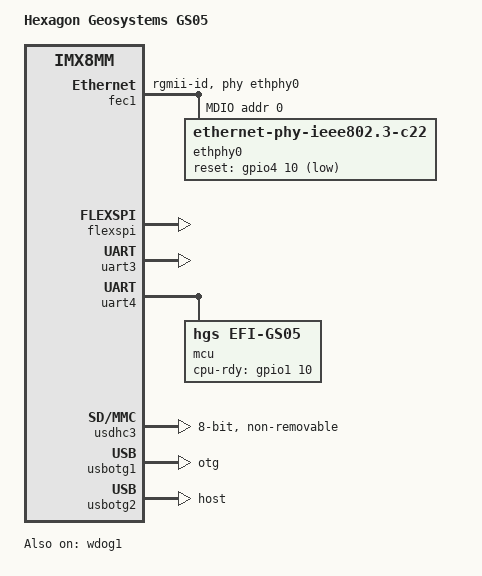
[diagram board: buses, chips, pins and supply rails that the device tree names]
// SPDX-License-Identifier: (GPL-2.0+ OR MIT)
// SPDX-FileCopyrightText: 2020 NXP
// SPDX-FileCopyrightText: Leica Geosystems AG

/dts-v1/;

#include <arm64/freescale/imx8mm.dtsi>
#include "imx8mm.dtsi"
#include "imx8m-hgs-common.dtsi"

/ {
	/* compatible containing the correct revision and model is patched via board file */
	compatible = "hgs,gs05", "fsl,imx8mm";
	model = "Hexagon Geosystems GS05";

	aliases {
		efiwdt = &efi_wdt;
	};

	/*
	 * Prohibit OP-TEE from turning of the UART output if enabled via
	 * CFG_UART_BASE. To do so we need to specify a stdout-path which
	 * doesn't exist else OP-TEE turns off the UART.
	 */
	secure-chosen {
		stdout-path = "/this-path/does/not/exist";
	};
};

&fec1 {
	pinctrl-names = "default";
	pinctrl-0 = <&pinctrl_fec1>;
	phy-mode = "rgmii-id";
	phy-handle = <&ethphy0>;
	status = "okay";

	mdio {
		#address-cells = <1>;
		#size-cells = <0>;

		ethphy0: ethernet-phy@0 {
			compatible = "ethernet-phy-ieee802.3-c22";
			reg = <0>;

			reset-gpios = <&gpio4 10 GPIO_ACTIVE_LOW>;
			reset-assert-us = <10000>;
			qca,disable-smarteee;
		};
	};
};

&flexspi {
	pinctrl-names = "default";
	pinctrl-0 = <&pinctrl_flexspi0>;
	status = "okay";
};

/* Used in M4 */
&gpio4 {
	status = "disabled";
};

/* Used in M4 */
&gpio5 {
	status = "disabled";
};

&state {
	devel {
		#address-cells = <1>;
		#size-cells = <1>;

		m4@14 {
			reg = <0x14 0x4>;
			type = "enum32";
			names = "off", "on";
			default = <0>;
		};
	};

	product {
		#address-cells = <1>;
		#size-cells = <1>;

		hostname@18 {
			reg = <0x18 0xf>;
			type = "string";
			default = "";
		};

		usb_model_name@28 {
			reg = <0x28 0x1f>;
			type = "string";
			default = "";
		};
		usb_serial_number@48 {
			reg = <0x48 0xf>;
			type = "string";
			default = "";
		};
		usb_pid@58 {
			reg = <0x58 0x6>;
			type = "string";
			default = "";
		};
	};
};

/* console */
&uart3 {
	pinctrl-names = "default", "uart";
	pinctrl-0 = <&pinctrl_uart3_gpio>;
	pinctrl-1 = <&pinctrl_uart3>;
	status = "okay";
};

&uart4 {
	pinctrl-names = "default";
	pinctrl-0 = <&pinctrl_uart4>;
	status = "okay";

	/* EFI */
	mcu {
		compatible = "hgs,efi-gs05";
		pinctrl-names = "default";
		pinctrl-0 = <&pinctrl_efi>;
		current-speed = <19200>;
		cpu-rdy-gpios = <&gpio1 10 GPIO_ACTIVE_HIGH>;
		#address-cells = <1>;
		#size-cells = <0>;

		efi_wdt: watchdog {
			compatible = "hgs,efi-gs05-wdt";
		};
	};
};

&usdhc3 { /* eMMC */
	assigned-clocks = <&clk IMX8MM_CLK_USDHC3_ROOT>;
	assigned-clock-rates = <400000000>;
	pinctrl-names = "default", "state_100mhz", "state_200mhz";
	pinctrl-0 = <&pinctrl_usdhc3>;
	pinctrl-1 = <&pinctrl_usdhc3_100mhz>;
	pinctrl-2 = <&pinctrl_usdhc3_200mhz>;
	bus-width = <8>;
	non-removable;
	no-sdio;
	no-sd;
	status = "okay";
};

&usbotg1 {
	dr_mode = "otg";
	disable-over-current;
	samsung,picophy-pre-emp-curr-control = <3>;
	samsung,picophy-dc-vol-level-adjust = <7>;
	ci-disable-lpm;
	status = "okay";
};

&usbotg2 {
	dr_mode = "host";
	disable-over-current;
	status = "okay";
};

&wdog1 {
	pinctrl-names = "default";
	pinctrl-0 = <&pinctrl_wdog>;
	fsl,ext-reset-output;
	status = "okay";
};

&iomuxc {
	pinctrl-names = "default";
	pinctrl-0 = <&pinctrl_gpio>;

	pinctrl_efi: efigrp {
		fsl,pins = <
			MX8MM_IOMUXC_GPIO1_IO10_GPIO1_IO10		0x100
		>;
	};

	pinctrl_fec1: fec1grp {
		fsl,pins = <
			MX8MM_IOMUXC_ENET_MDC_ENET1_MDC			0x3
			MX8MM_IOMUXC_ENET_MDIO_ENET1_MDIO		0x3
			MX8MM_IOMUXC_ENET_TD3_ENET1_RGMII_TD3		0x1f
			MX8MM_IOMUXC_ENET_TD2_ENET1_RGMII_TD2		0x1f
			MX8MM_IOMUXC_ENET_TD1_ENET1_RGMII_TD1		0x1f
			MX8MM_IOMUXC_ENET_TD0_ENET1_RGMII_TD0		0x1f
			MX8MM_IOMUXC_ENET_RD3_ENET1_RGMII_RD3		0x91
			MX8MM_IOMUXC_ENET_RD2_ENET1_RGMII_RD2		0x91
			MX8MM_IOMUXC_ENET_RD1_ENET1_RGMII_RD1		0x91
			MX8MM_IOMUXC_ENET_RD0_ENET1_RGMII_RD0		0x91
			MX8MM_IOMUXC_ENET_TXC_ENET1_RGMII_TXC		0x1f
			MX8MM_IOMUXC_ENET_RXC_ENET1_RGMII_RXC		0x91
			MX8MM_IOMUXC_ENET_RX_CTL_ENET1_RGMII_RX_CTL	0x91
			MX8MM_IOMUXC_ENET_TX_CTL_ENET1_RGMII_TX_CTL	0x1f
			MX8MM_IOMUXC_SAI1_TXFS_GPIO4_IO10		0x19
		>;
	};

	pinctrl_usdhc3: usdhc3grp {
		fsl,pins = <
			MX8MM_IOMUXC_NAND_WE_B_USDHC3_CLK		0x190
			MX8MM_IOMUXC_NAND_WP_B_USDHC3_CMD		0x1d0
			MX8MM_IOMUXC_NAND_DATA04_USDHC3_DATA0		0x1d0
			MX8MM_IOMUXC_NAND_DATA05_USDHC3_DATA1		0x1d0
			MX8MM_IOMUXC_NAND_DATA06_USDHC3_DATA2		0x1d0
			MX8MM_IOMUXC_NAND_DATA07_USDHC3_DATA3		0x1d0
			MX8MM_IOMUXC_NAND_RE_B_USDHC3_DATA4		0x1d0
			MX8MM_IOMUXC_NAND_CE2_B_USDHC3_DATA5		0x1d0
			MX8MM_IOMUXC_NAND_CE3_B_USDHC3_DATA6		0x1d0
			MX8MM_IOMUXC_NAND_CLE_USDHC3_DATA7		0x1d0
			MX8MM_IOMUXC_NAND_CE1_B_USDHC3_STROBE		0x190
		>;
	};

	pinctrl_usdhc3_100mhz: usdhc3-100mhzgrp {
		fsl,pins = <
			MX8MM_IOMUXC_NAND_WE_B_USDHC3_CLK		0x194
			MX8MM_IOMUXC_NAND_WP_B_USDHC3_CMD		0x1d4
			MX8MM_IOMUXC_NAND_DATA04_USDHC3_DATA0		0x1d4
			MX8MM_IOMUXC_NAND_DATA05_USDHC3_DATA1		0x1d4
			MX8MM_IOMUXC_NAND_DATA06_USDHC3_DATA2		0x1d4
			MX8MM_IOMUXC_NAND_DATA07_USDHC3_DATA3		0x1d4
			MX8MM_IOMUXC_NAND_RE_B_USDHC3_DATA4		0x1d4
			MX8MM_IOMUXC_NAND_CE2_B_USDHC3_DATA5		0x1d4
			MX8MM_IOMUXC_NAND_CE3_B_USDHC3_DATA6		0x1d4
			MX8MM_IOMUXC_NAND_CLE_USDHC3_DATA7		0x1d4
			MX8MM_IOMUXC_NAND_CE1_B_USDHC3_STROBE		0x194
		>;
	};

	pinctrl_usdhc3_200mhz: usdhc3-200mhzgrp {
		fsl,pins = <
			MX8MM_IOMUXC_NAND_WE_B_USDHC3_CLK		0x196
			MX8MM_IOMUXC_NAND_WP_B_USDHC3_CMD		0x1d6
			MX8MM_IOMUXC_NAND_DATA04_USDHC3_DATA0		0x1d6
			MX8MM_IOMUXC_NAND_DATA05_USDHC3_DATA1		0x1d6
			MX8MM_IOMUXC_NAND_DATA06_USDHC3_DATA2		0x1d6
			MX8MM_IOMUXC_NAND_DATA07_USDHC3_DATA3		0x1d6
			MX8MM_IOMUXC_NAND_RE_B_USDHC3_DATA4		0x1d6
			MX8MM_IOMUXC_NAND_CE2_B_USDHC3_DATA5		0x1d6
			MX8MM_IOMUXC_NAND_CE3_B_USDHC3_DATA6		0x1d6
			MX8MM_IOMUXC_NAND_CLE_USDHC3_DATA7		0x1d6
			MX8MM_IOMUXC_NAND_CE1_B_USDHC3_STROBE		0x196
		>;
	};

	pinctrl_uart3: uart3grp {
		fsl,pins = <
			MX8MM_IOMUXC_UART3_RXD_UART3_DCE_RX		0x0
			MX8MM_IOMUXC_UART3_TXD_UART3_DCE_TX		0x140
		>;
	};

	pinctrl_uart3_gpio: uart3-gpiogrp {
		fsl,pins = <
			MX8MM_IOMUXC_UART3_RXD_GPIO5_IO26		0x20
			MX8MM_IOMUXC_UART3_TXD_GPIO5_IO27		0x20
		>;
	};

	pinctrl_uart4: uart4grp {
		fsl,pins = <
			MX8MM_IOMUXC_UART4_RXD_UART4_DCE_RX		0x140
			MX8MM_IOMUXC_UART4_TXD_UART4_DCE_TX		0x0
		>;
	};

	pinctrl_flexspi0: flexspi0grp {
		fsl,pins = <
			MX8MM_IOMUXC_NAND_ALE_QSPI_A_SCLK		0x1c2
			MX8MM_IOMUXC_NAND_CE0_B_QSPI_A_SS0_B		0x82
			MX8MM_IOMUXC_NAND_DATA00_QSPI_A_DATA0		0x82
			MX8MM_IOMUXC_NAND_DATA01_QSPI_A_DATA1		0x82
			MX8MM_IOMUXC_NAND_DATA02_QSPI_A_DATA2		0x82
			MX8MM_IOMUXC_NAND_DATA03_QSPI_A_DATA3		0x82
		>;
	};

	pinctrl_wdog: wdoggrp {
		fsl,pins = <
			MX8MM_IOMUXC_GPIO1_IO02_WDOG1_WDOG_B		0x166
		>;
	};

	pinctrl_gpio: gpiogrp {
		fsl,pins = <
			/* GS05_LTE_OCx */
			MX8MM_IOMUXC_GPIO1_IO05_GPIO1_IO5		0x00
			/* GS05_PRESSURE_INT */
			MX8MM_IOMUXC_GPIO1_IO06_GPIO1_IO6		0x100
			/* GS05_IMX8_CPU_RDY */
			MX8MM_IOMUXC_GPIO1_IO10_GPIO1_IO10		0x100
			/* GS05_IMX8_I2C_1_RSTx */
			MX8MM_IOMUXC_GPIO1_IO11_GPIO1_IO11		0x140
			/* GS05_IMX8_I2C_1_INTx */
			MX8MM_IOMUXC_GPIO1_IO12_GPIO1_IO12		0x00
			/* GS05_IMX8_USB1_OC_SOURCEx */
			MX8MM_IOMUXC_GPIO1_IO13_GPIO1_IO13		0x00
			/* GS05_IMX8_LTE_V180_ONx */
			MX8MM_IOMUXC_GPIO1_IO14_GPIO1_IO14		0x140
			/* GS05_IMX8_USB1_OC_SINKx */
			MX8MM_IOMUXC_GPIO1_IO15_GPIO1_IO15		0x00
			/* GS05_GNSS_RSTX */
			MX8MM_IOMUXC_SAI5_RXFS_GPIO3_IO19		0x20
			/* GS05_TPM_LP */
			MX8MM_IOMUXC_SAI5_RXC_GPIO3_IO20		0x100
			/* GS05_GNSS_EXTINT */
			MX8MM_IOMUXC_SAI5_RXD0_GPIO3_IO21		0x20
			/* GS05_TPM_IRQ */
			MX8MM_IOMUXC_SAI5_RXD1_GPIO3_IO22		0x140
			/* GS05_UHF_GPIO_0 */
			MX8MM_IOMUXC_SAI5_RXD2_GPIO3_IO23		0x100
		>;
	};
};
